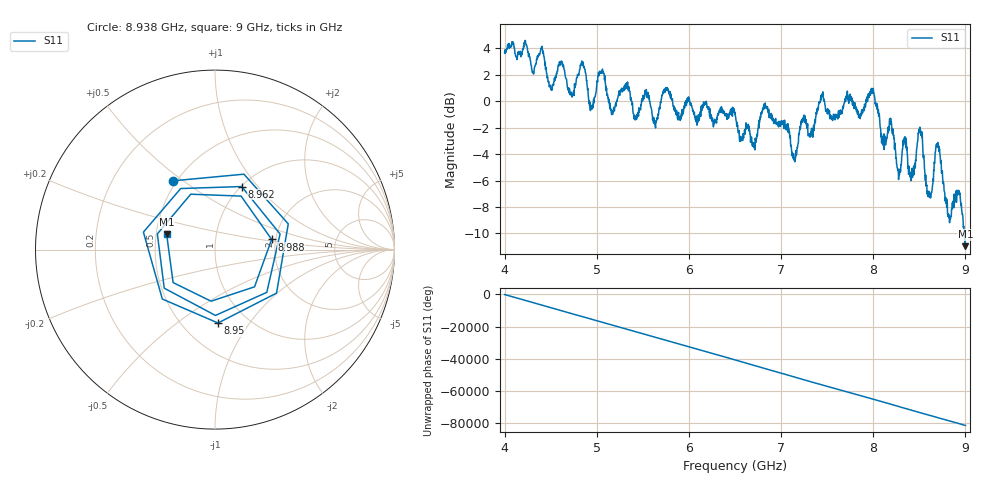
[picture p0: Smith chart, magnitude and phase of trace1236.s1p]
! Created with skrf 1.8.0 (http://scikit-rf.org).
# Hz S RI R 50.0
!freq ReS11 ImS11
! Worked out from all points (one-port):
!   1601 points, 4 GHz to 9 GHz, reference 50 ohm
!   lowest |S11| = -11.0 dB at 9 GHz (marker M1), VSWR 1.79, Z = 28.4 + j5.31 ohm
!   |S11| at or under -10 dB: 8.988721 GHz to end of sweep
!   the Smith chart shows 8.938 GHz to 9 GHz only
!   S11 on the Smith chart (normalised r, x): 8.938 GHz: 0.48, +0.46; 8.95 GHz: 0.73, -0.72; 8.962 GHz: 1.01, +0.83; 8.988 GHz: 1.90, +0.24; 9 GHz: 0.57, +0.11
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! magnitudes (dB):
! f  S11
! 4 GHz  3.7
! 4.506 GHz  0.9
! 4.625 GHz  3.0
! 4.731 GHz  0.5
! 4.853 GHz  3.0
! 4.938 GHz  -0.5
! 5.044 GHz  2.2
! 5.166 GHz  -0.7
! 5.25 GHz  0.5
! 5.875 GHz  -1.3
! 6.5 GHz  -0.8
! 6.709 GHz  -3.4
! 6.838 GHz  -0.4
! 7.125 GHz  -4.0
! 7.434 GHz  0.1
! 7.75 GHz  0.5
! 7.988 GHz  0.9
! 8.272 GHz  -5.2
! 8.375 GHz  -4.8
! 8.509 GHz  -2.0
! 8.603 GHz  -7.0
! 8.697 GHz  -3.3
! 8.822 GHz  -8.8
! 8.938 GHz  -7.0
! 8.95 GHz  -7.8
! 8.962 GHz  -8.4
! 8.988 GHz  -9.9
! 9 GHz  -11.0
